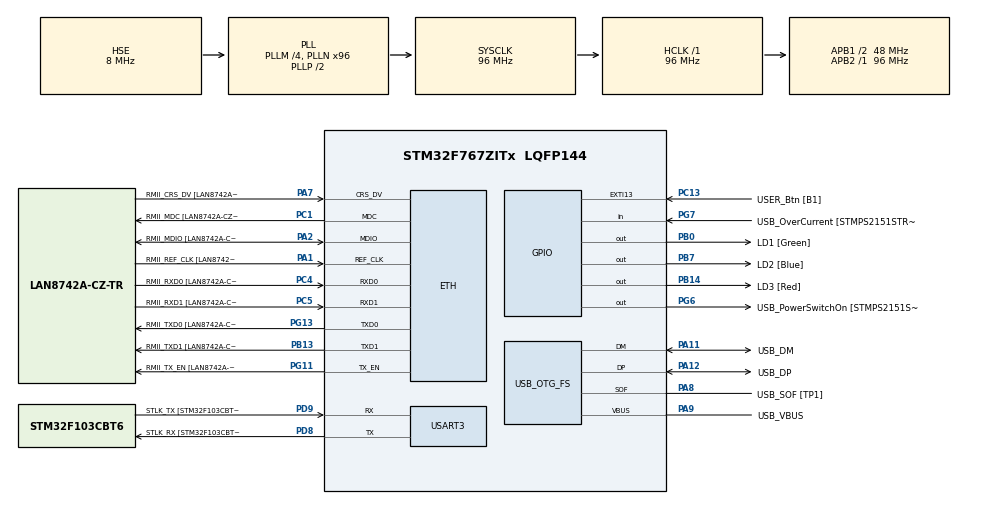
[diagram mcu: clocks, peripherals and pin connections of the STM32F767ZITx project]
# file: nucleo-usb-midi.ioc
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ETH.MediaInterface=HAL_ETH_RMII_MODE
ETH.PHY_Name=LAN8742A_PHY_ADDRESS
ETH.PHY_Value=0
ETH.PhyAddress=0
Mcu.Family=STM32F7
Mcu.Name=STM32F767ZITx
Mcu.Package=LQFP144
NVIC.OTG_FS_IRQn=true\:0\:0\:false\:false\:true\:false\:true\:true
NVIC.PriorityGroup=NVIC_PRIORITYGROUP_4
PA1.GPIO_Label=RMII_REF_CLK [LAN8742A-CZ-TR_REFCLK0]
PA1.Mode=RMII
PA1.Signal=ETH_REF_CLK
PA10.GPIO_Label=USB_ID
PA10.Signal=USB_OTG_FS_ID
PA11.GPIO_Label=USB_DM
PA11.Mode=Device_Only
PA11.Signal=USB_OTG_FS_DM
PA12.GPIO_Label=USB_DP
PA12.Mode=Device_Only
PA12.Signal=USB_OTG_FS_DP
PA13.GPIO_Label=TMS
PA13.Mode=Serial_Wire
PA13.Signal=SYS_JTMS-SWDIO
PA14.GPIO_Label=TCK
PA14.Mode=Serial_Wire
PA14.Signal=SYS_JTCK-SWCLK
PA2.GPIO_Label=RMII_MDIO [LAN8742A-CZ-TR_MDIO]
PA2.Mode=RMII
PA2.Signal=ETH_MDIO
PA7.GPIO_Label=RMII_CRS_DV [LAN8742A-CZ-TR_CRS_DV]
PA7.Mode=RMII
PA7.Signal=ETH_CRS_DV
PA8.GPIO_Label=USB_SOF [TP1]
PA8.Mode=Activate_SOF_FS
PA8.Signal=USB_OTG_FS_SOF
PA9.GPIO_Label=USB_VBUS
PA9.Mode=Activate_VBUS
PA9.Signal=USB_OTG_FS_VBUS
PB0.GPIO_Label=LD1 [Green]
PB0.Signal=GPIO_Output
PB13.GPIO_Label=RMII_TXD1 [LAN8742A-CZ-TR_TXD1]
PB13.Mode=RMII
PB13.Signal=ETH_TXD1
PB14.GPIO_Label=LD3 [Red]
PB14.Signal=GPIO_Output
PB3.GPIO_Label=SWO
PB3.Signal=SYS_JTDO-SWO
PB7.GPIO_Label=LD2 [Blue]
PB7.Signal=GPIO_Output
PC1.GPIO_Label=RMII_MDC [LAN8742A-CZ-TR_MDC]
PC1.Mode=RMII
PC1.Signal=ETH_MDC
PC13.GPIO_Label=USER_Btn [B1]
PC13.Signal=GPXTI13
PC14/OSC32_IN.Mode=LSE-External-Oscillator
PC14/OSC32_IN.Signal=RCC_OSC32_IN
PC15/OSC32_OUT.Mode=LSE-External-Oscillator
PC15/OSC32_OUT.Signal=RCC_OSC32_OUT
PC4.GPIO_Label=RMII_RXD0 [LAN8742A-CZ-TR_RXD0]
PC4.Mode=RMII
PC4.Signal=ETH_RXD0
PC5.GPIO_Label=RMII_RXD1 [LAN8742A-CZ-TR_RXD1]
PC5.Mode=RMII
PC5.Signal=ETH_RXD1
PD8.GPIO_Label=STLK_RX [STM32F103CBT6_PA3]
PD8.Mode=Asynchronous
PD8.Signal=USART3_TX
PD9.GPIO_Label=STLK_TX [STM32F103CBT6_PA2]
PD9.Mode=Asynchronous
PD9.Signal=USART3_RX
PG11.GPIO_Label=RMII_TX_EN [LAN8742A-CZ-TR_TXEN]
PG11.Mode=RMII
PG11.Signal=ETH_TX_EN
PG13.GPIO_Label=RMII_TXD0 [LAN8742A-CZ-TR_TXD0]
PG13.Mode=RMII
PG13.Signal=ETH_TXD0
PG6.GPIO_Label=USB_PowerSwitchOn [STMPS2151STR_EN]
PG6.Signal=GPIO_Output
PG7.GPIO_Label=USB_OverCurrent [STMPS2151STR_FAULT]
PG7.Signal=GPIO_Input
PH0/OSC_IN.GPIO_Label=MCO [STM32F103CBT6_PA8]
PH0/OSC_IN.Mode=HSE-External-Clock-Source
PH0/OSC_IN.Signal=RCC_OSC_IN
PH1/OSC_OUT.Mode=HSE-External-Clock-Source
PH1/OSC_OUT.Signal=RCC_OSC_OUT
ProjectManager.HeapSize=0x200
ProjectManager.StackSize=0x400
ProjectManager.TargetToolchain=STM32CubeIDE
RCC.48MHZClocksFreq_Value=24000000
RCC.AHBFreq_Value=96000000
RCC.APB1CLKDivider=RCC_HCLK_DIV2
RCC.APB1Freq_Value=48000000
RCC.APB1TimFreq_Value=96000000
RCC.APB2Freq_Value=96000000
RCC.APB2TimFreq_Value=96000000
RCC.CortexFreq_Value=96000000
RCC.HCLKFreq_Value=96000000
RCC.HSE_VALUE=8000000
RCC.HSI_VALUE=16000000
RCC.PLLM=4
RCC.PLLMUL=RCC_PLL_MUL9
RCC.PLLN=96
RCC.PLLQ=4
RCC.PRESCALERUSB=RCC_USBCLKSOURCE_PLL_DIV1_5
RCC.SYSCLKFreq_VALUE=96000000
RCC.SYSCLKSource=RCC_SYSCLKSOURCE_PLLCLK
RCC.SYSCLKSourceVirtual=RCC_SYSCLKSOURCE_PLLCLK
RCC.USBFreq_Value=48000000
RCC.VCOOutputFreq_Value=192000000
USART3.VirtualMode-Asynchronous=VM_ASYNC
USB_DEVICE.CLASS_NAME_FS=HID
USB_DEVICE.CONFIGURATION_STRING_HID_FS=MIDI Config
USB_DEVICE.INTERFACE_STRING_HID_FS=MIDI Interface
USB_DEVICE.MANUFACTURER_STRING-HID_FS=LispEngineer using STM
USB_DEVICE.PRODUCT_STRING_HID_FS=MIDI LispEngineer
USB_DEVICE.VirtualMode-HID_FS=Hid
USB_DEVICE.VirtualModeFS=Hid_FS
USB_OTG_FS.VirtualMode=Device_Only
VP_USB_DEVICE_VS_USB_DEVICE_HID_FS.Mode=HID_FS
board=NUCLEO-F767ZI

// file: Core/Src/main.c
/* USER CODE BEGIN Header */
/**
  ******************************************************************************
  * @file           : main.c
  * @brief          : Main program body
  ******************************************************************************
  * @attention
  *
  * Copyright (c) 2025 STMicroelectronics.
  * All rights reserved.
  *
  * This software is licensed under terms that can be found in the LICENSE file
  * in the root directory of this software component.
  * If no LICENSE file comes with this software, it is provided AS-IS.
  *
  ******************************************************************************
  */
/* USER CODE END Header */
#include "main.h"
#include "string.h"
#include "usb_device.h"

/* USER CODE BEGIN Includes */
#include "usbd_midi.h"

/* USER CODE END Includes */

#if defined ( __ICCARM__ ) /*!< IAR Compiler */
#pragma location=0x2007c000
ETH_DMADescTypeDef  DMARxDscrTab[ETH_RX_DESC_CNT]; /* Ethernet Rx DMA Descriptors */
#pragma location=0x2007c0a0
ETH_DMADescTypeDef  DMATxDscrTab[ETH_TX_DESC_CNT]; /* Ethernet Tx DMA Descriptors */

#elif defined ( __CC_ARM )  /* MDK ARM Compiler */

__attribute__((at(0x2007c000))) ETH_DMADescTypeDef  DMARxDscrTab[ETH_RX_DESC_CNT]; /* Ethernet Rx DMA Descriptors */
__attribute__((at(0x2007c0a0))) ETH_DMADescTypeDef  DMATxDscrTab[ETH_TX_DESC_CNT]; /* Ethernet Tx DMA Descriptors */

#elif defined ( __GNUC__ ) /* GNU Compiler */

ETH_DMADescTypeDef DMARxDscrTab[ETH_RX_DESC_CNT] __attribute__((section(".RxDecripSection"))); /* Ethernet Rx DMA Descriptors */
ETH_DMADescTypeDef DMATxDscrTab[ETH_TX_DESC_CNT] __attribute__((section(".TxDecripSection")));   /* Ethernet Tx DMA Descriptors */
#endif

ETH_TxPacketConfig TxConfig;

ETH_HandleTypeDef heth;

UART_HandleTypeDef huart3;

void SystemClock_Config(void);
static void MX_GPIO_Init(void);
static void MX_ETH_Init(void);
static void MX_USART3_UART_Init(void);

/* USER CODE BEGIN 0 */

typedef struct {
 int8_t buttons;
 int8_t x;
 int8_t y;
 int8_t wheel;
} Mouse;
Mouse mouse_status = {0};

/*
 * MIDI event packet structure:
 * |  4 bits  |  4 bits  |  4 bits  |  4 bits  |  8 bits  |  8 bits  |
   |          |          |        MIDI_0       |  MIDI_1  |  MIDI_2  |
   |   Cable  |   Code   |  Message |  Channel |  Byte 1  |  Byte 2  |
 */

uint8_t noteOn[] =  {0x19, 0x90, 48, 100}; // 48 = Middle C (?)
uint8_t noteOff[] = {0x18, 0x80, 48, 10 };

extern USBD_HandleTypeDef hUsbDeviceFS; // usb_device.c

/* USER CODE END 0 */

int main(void)
{
  uint8_t on = 1;

  /* MCU Configuration--------------------------------------------------------*/

  /* Reset of all peripherals, Initializes the Flash interface and the Systick. */
  HAL_Init();

  /* Configure the system clock */
  SystemClock_Config();

  /* Initialize all configured peripherals */
  MX_GPIO_Init();
  MX_ETH_Init();
  MX_USART3_UART_Init();
  MX_USB_DEVICE_Init();

  /* Infinite loop */
  /* USER CODE BEGIN WHILE */

  // The USB system seems to take a moment to connect and do whatever it needs to do.
  // If we immediately start calling USBD_HID_SendReport it will fail a while.
  HAL_Delay(1000);

  while (1)
  {
    /* USER CODE END WHILE */

    /* USER CODE BEGIN 3 */
    HAL_GPIO_TogglePin(LD1_GPIO_Port, LD1_Pin);

    // while (USBD_MIDI_GetState(&hUsbDeviceFS) != MIDI_IDLE) {};

    // FIXME: This will always return USBD_OK - improve the code
    if (USBD_MIDI_SendReportFrom(&hUsbDeviceFS, on ? noteOn : noteOff, on ? sizeof(noteOn) : sizeof(noteOff), 0) != USBD_OK) {
      HAL_GPIO_WritePin(LD2_GPIO_Port, LD2_Pin, GPIO_PIN_SET);
      HAL_Delay(10);
      HAL_GPIO_WritePin(LD2_GPIO_Port, LD2_Pin, GPIO_PIN_RESET);
    } else {
      on = !on;
    }

    HAL_Delay(249);
  }
  /* USER CODE END 3 */
}

void SystemClock_Config(void)
{
  RCC_OscInitTypeDef RCC_OscInitStruct = {0};
  RCC_ClkInitTypeDef RCC_ClkInitStruct = {0};

  /** Configure LSE Drive Capability
  */
  HAL_PWR_EnableBkUpAccess();

  /** Configure the main internal regulator output voltage
  */
  __HAL_RCC_PWR_CLK_ENABLE();
  __HAL_PWR_VOLTAGESCALING_CONFIG(PWR_REGULATOR_VOLTAGE_SCALE3);

  /** Initializes the RCC Oscillators according to the specified parameters
  * in the RCC_OscInitTypeDef structure.
  */
  RCC_OscInitStruct.OscillatorType = RCC_OSCILLATORTYPE_HSE;
  RCC_OscInitStruct.HSEState = RCC_HSE_BYPASS;
  RCC_OscInitStruct.PLL.PLLState = RCC_PLL_ON;
  RCC_OscInitStruct.PLL.PLLSource = RCC_PLLSOURCE_HSE;
  RCC_OscInitStruct.PLL.PLLM = 4;
  RCC_OscInitStruct.PLL.PLLN = 96;
  RCC_OscInitStruct.PLL.PLLP = RCC_PLLP_DIV2;
  RCC_OscInitStruct.PLL.PLLQ = 4;
  RCC_OscInitStruct.PLL.PLLR = 2;
  if (HAL_RCC_OscConfig(&RCC_OscInitStruct) != HAL_OK)
  {
    Error_Handler();
  }

  /** Activate the Over-Drive mode
  */
  if (HAL_PWREx_EnableOverDrive() != HAL_OK)
  {
    Error_Handler();
  }

  /** Initializes the CPU, AHB and APB buses clocks
  */
  RCC_ClkInitStruct.ClockType = RCC_CLOCKTYPE_HCLK|RCC_CLOCKTYPE_SYSCLK
                              |RCC_CLOCKTYPE_PCLK1|RCC_CLOCKTYPE_PCLK2;
  RCC_ClkInitStruct.SYSCLKSource = RCC_SYSCLKSOURCE_PLLCLK;
  RCC_ClkInitStruct.AHBCLKDivider = RCC_SYSCLK_DIV1;
  RCC_ClkInitStruct.APB1CLKDivider = RCC_HCLK_DIV2;
  RCC_ClkInitStruct.APB2CLKDivider = RCC_HCLK_DIV1;

  if (HAL_RCC_ClockConfig(&RCC_ClkInitStruct, FLASH_LATENCY_3) != HAL_OK)
  {
    Error_Handler();
  }
}

static void MX_ETH_Init(void)
{

   static uint8_t MACAddr[6];

  heth.Instance = ETH;
  MACAddr[0] = 0x00;
  MACAddr[1] = 0x80;
  MACAddr[2] = 0xE1;
  MACAddr[3] = 0x00;
  MACAddr[4] = 0x00;
  MACAddr[5] = 0x00;
  heth.Init.MACAddr = &MACAddr[0];
  heth.Init.MediaInterface = HAL_ETH_RMII_MODE;
  heth.Init.TxDesc = DMATxDscrTab;
  heth.Init.RxDesc = DMARxDscrTab;
  heth.Init.RxBuffLen = 1524;

  if (HAL_ETH_Init(&heth) != HAL_OK)
  {
    Error_Handler();
  }

  memset(&TxConfig, 0 , sizeof(ETH_TxPacketConfig));
  TxConfig.Attributes = ETH_TX_PACKETS_FEATURES_CSUM | ETH_TX_PACKETS_FEATURES_CRCPAD;
  TxConfig.ChecksumCtrl = ETH_CHECKSUM_IPHDR_PAYLOAD_INSERT_PHDR_CALC;
  TxConfig.CRCPadCtrl = ETH_CRC_PAD_INSERT;

}

static void MX_USART3_UART_Init(void)
{

  huart3.Instance = USART3;
  huart3.Init.BaudRate = 115200;
  huart3.Init.WordLength = UART_WORDLENGTH_8B;
  huart3.Init.StopBits = UART_STOPBITS_1;
  huart3.Init.Parity = UART_PARITY_NONE;
  huart3.Init.Mode = UART_MODE_TX_RX;
  huart3.Init.HwFlowCtl = UART_HWCONTROL_NONE;
  huart3.Init.OverSampling = UART_OVERSAMPLING_16;
  huart3.Init.OneBitSampling = UART_ONE_BIT_SAMPLE_DISABLE;
  huart3.AdvancedInit.AdvFeatureInit = UART_ADVFEATURE_NO_INIT;
  if (HAL_UART_Init(&huart3) != HAL_OK)
  {
    Error_Handler();
  }

}

static void MX_GPIO_Init(void)
{
  GPIO_InitTypeDef GPIO_InitStruct = {0};

  /* GPIO Ports Clock Enable */
  __HAL_RCC_GPIOC_CLK_ENABLE();
  __HAL_RCC_GPIOH_CLK_ENABLE();
  __HAL_RCC_GPIOA_CLK_ENABLE();
  __HAL_RCC_GPIOB_CLK_ENABLE();
  __HAL_RCC_GPIOD_CLK_ENABLE();
  __HAL_RCC_GPIOG_CLK_ENABLE();

  /*Configure GPIO pin Output Level */
  HAL_GPIO_WritePin(GPIOB, LD1_Pin|LD3_Pin|LD2_Pin, GPIO_PIN_RESET);

  /*Configure GPIO pin Output Level */
  HAL_GPIO_WritePin(USB_PowerSwitchOn_GPIO_Port, USB_PowerSwitchOn_Pin, GPIO_PIN_RESET);

  /*Configure GPIO pin : USER_Btn_Pin */
  GPIO_InitStruct.Pin = USER_Btn_Pin;
  GPIO_InitStruct.Mode = GPIO_MODE_IT_RISING;
  GPIO_InitStruct.Pull = GPIO_NOPULL;
  HAL_GPIO_Init(USER_Btn_GPIO_Port, &GPIO_InitStruct);

  /*Configure GPIO pins : LD1_Pin LD3_Pin LD2_Pin */
  GPIO_InitStruct.Pin = LD1_Pin|LD3_Pin|LD2_Pin;
  GPIO_InitStruct.Mode = GPIO_MODE_OUTPUT_PP;
  GPIO_InitStruct.Pull = GPIO_NOPULL;
  GPIO_InitStruct.Speed = GPIO_SPEED_FREQ_LOW;
  HAL_GPIO_Init(GPIOB, &GPIO_InitStruct);

  /*Configure GPIO pin : USB_PowerSwitchOn_Pin */
  GPIO_InitStruct.Pin = USB_PowerSwitchOn_Pin;
  GPIO_InitStruct.Mode = GPIO_MODE_OUTPUT_PP;
  GPIO_InitStruct.Pull = GPIO_NOPULL;
  GPIO_InitStruct.Speed = GPIO_SPEED_FREQ_LOW;
  HAL_GPIO_Init(USB_PowerSwitchOn_GPIO_Port, &GPIO_InitStruct);

  /*Configure GPIO pin : USB_OverCurrent_Pin */
  GPIO_InitStruct.Pin = USB_OverCurrent_Pin;
  GPIO_InitStruct.Mode = GPIO_MODE_INPUT;
  GPIO_InitStruct.Pull = GPIO_NOPULL;
  HAL_GPIO_Init(USB_OverCurrent_GPIO_Port, &GPIO_InitStruct);

}

void Error_Handler(void)
{
  __disable_irq();
  while (1)
  {
  }
}
